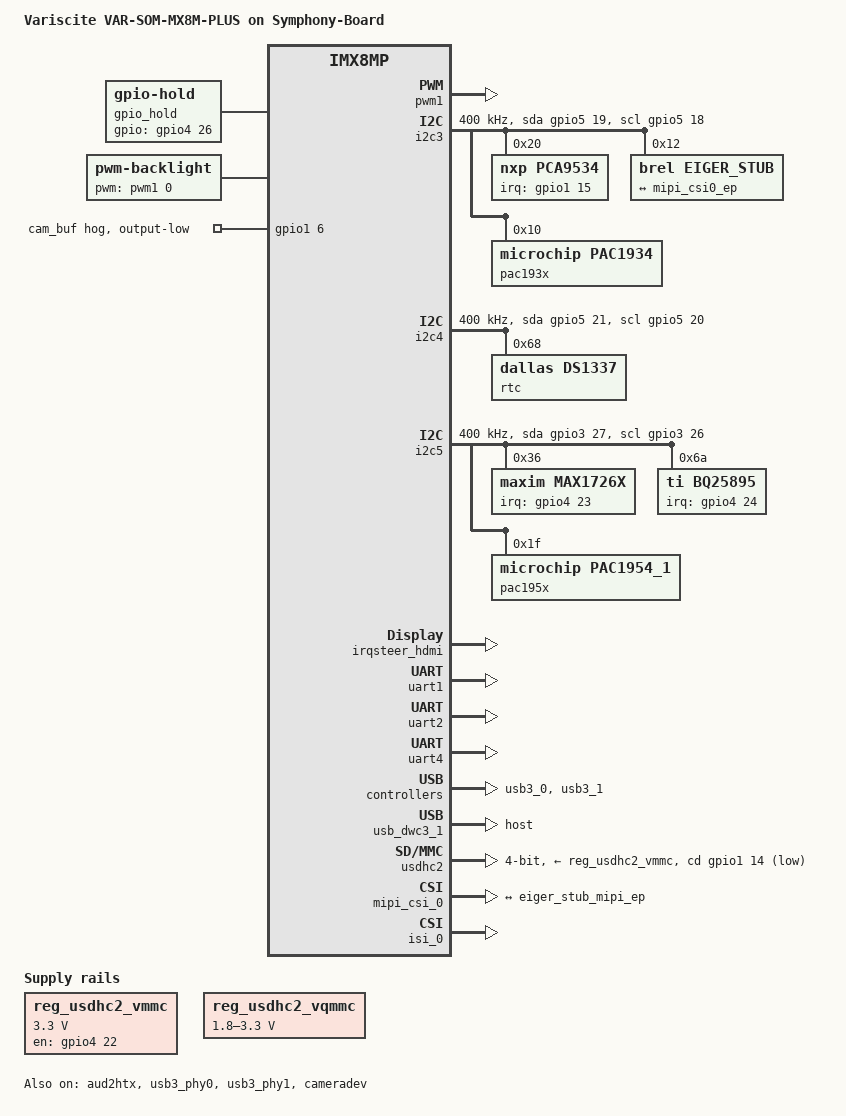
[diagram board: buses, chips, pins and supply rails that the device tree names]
// SPDX-License-Identifier: (GPL-2.0+ OR MIT)
/*
 * Copyright 2019 NXP
 * Copyright 2020-2021 Variscite Ltd.
 */

#include "imx8mp-var-som.dtsi"

/ {
	model = "Variscite VAR-SOM-MX8M-PLUS on Symphony-Board";

	chosen {
		stdout-path = &uart2;
	};

	reg_usdhc2_vmmc: regulator-usdhc2-vmmc {
		compatible = "regulator-fixed";
		regulator-name = "VSD_3V3";
		regulator-min-microvolt = <3300000>;
		regulator-max-microvolt = <3300000>;
		gpio = <&gpio4 22 GPIO_ACTIVE_HIGH>;
		enable-active-high;
		startup-delay-us = <100>;
		off-on-delay-us = <12000>;
	};

	reg_usdhc2_vqmmc: regulator-usdhc2-vqmmc {
		compatible = "regulator-gpio";
		regulator-name = "VSD_VSEL";
		regulator-min-microvolt = <1800000>;
		regulator-max-microvolt = <3300000>;
		gpio = <&gpio2 12 GPIO_ACTIVE_HIGH>;
		gpios-states = <1>;
		states = <3300000 0
			  1800000 1>;
	};

  gpio_hold: gpio-hold {
    compatible = "gpio-hold";
    pinctrl-names = "default";
    pinctrl-0 = <&pinctrl_hold>;
    gpio = <&gpio4 26 GPIO_ACTIVE_HIGH>;
    status = "okay";
  };

	backlight: backlight {
		compatible = "pwm-backlight";
		pwms = <&pwm1 0 1000000>;
		status = "okay";

		brightness-levels = < 0  1  2  3  4  5  6  7  8  9
				     10 11 12 13 14 15 16 17 18 19
				     20 21 22 23 24 25 26 27 28 29
				     30 31 32 33 34 35 36 37 38 39
				     40 41 42 43 44 45 46 47 48 49
				     50 51 52 53 54 55 56 57 58 59
				     60 61 62 63 64 65 66 67 68 69
				     70 71 72 73 74 75 76 77 78 79
				     80 81 82 83 84 85 86 87 88 89
				     90 91 92 93 94 95 96 97 98 99
				    100>;
		default-brightness-level = <80>;
	};
};

&snvs_rtc {
	status = "disabled";
};

&aud2htx {
	status = "okay";
};

&pwm1 {
	pinctrl-names = "default";
	pinctrl-0 = <&pinctrl_pwm1>;
	status = "okay";
};

&flexspi {
	pinctrl-names = "default";
	pinctrl-0 = <&pinctrl_flexspi0>;
	status = "disabled";
};

&i2c3 {
	clock-frequency = <400000>;
	pinctrl-names = "default", "gpio";
	pinctrl-0 = <&pinctrl_i2c3>;
	pinctrl-1 = <&pinctrl_i2c3_gpio>;
	scl-gpios = <&gpio5 18 GPIO_ACTIVE_HIGH>;
	sda-gpios = <&gpio5 19 GPIO_ACTIVE_HIGH>;
	status = "okay";

	pca9534: gpio@20 {
		compatible = "nxp,pca9534";
		reg = <0x20>;
		gpio-controller;
		pinctrl-names = "default";
		pinctrl-0 = <&pinctrl_pca9534>;
		interrupt-parent = <&gpio1>;
		interrupts = <15 IRQ_TYPE_EDGE_FALLING>;
		#gpio-cells = <2>;
		wakeup-source;
		status = "okay";
	};

  eiger_stub: eiger_stub@12 {
		compatible = "brel,eiger_stub";
		reg = <0x12>;
		clocks = <&clk IMX8MP_CLK_IPP_DO_CLKO2>;
		clock-names = "csi_mclk";
		csi_id = <0>;
		mclk = <24000000>;
		mclk_source = <0>;
		mipi_csi;
		status = "okay";

		port {
			eiger_stub_mipi_ep: endpoint {
				remote-endpoint = <&mipi_csi0_ep>;
				data-lanes = <1>;
				clock-lanes = <0>;

			};
		};
	};

	pac193x@10 {
		compatible = "microchip,pac1934";
		reg = <0x10>;
		microchip,samp-rate =<64>;
	        status = "okay";

		ch1: channel@0 {
		     microchip,uohms-shunt-res = <100000>;
		     microchip,rail-name = "CAM";
		     microchip,channel-enabled;
                     microchip,channel-index = <1>;
		};

		ch2: channel@1 {
		     microchip,uohms-shunt-res = <100000>;
		     microchip,rail-name = "3V3";
		     microchip,channel-enabled;
                     microchip,channel-index = <2>;
		};

		ch3: channel@2 {
		     microchip,uohms-shunt-res = <100000>;
		     microchip,rail-name = "1V8";
		     microchip,channel-enabled;
                     microchip,channel-index = <3>;
		};

		ch4: channel@3 {
		     microchip,uohms-shunt-res = <100000>;
		     microchip,rail-name = "5V";
		     microchip,channel-enabled;
                     microchip,channel-index = <4>;
		};
	};

};


&i2c4 {
	clock-frequency = <400000>;
	pinctrl-names = "default", "gpio";
	pinctrl-0 = <&pinctrl_i2c4>;
	pinctrl-1 = <&pinctrl_i2c4_gpio>;
	scl-gpios = <&gpio5 20 GPIO_ACTIVE_HIGH>;
	sda-gpios = <&gpio5 21 GPIO_ACTIVE_HIGH>;
	status = "okay";

	/* DS1337 RTC module */
	rtc@68 {
		compatible = "dallas,ds1337";
		reg = <0x68>;
		status = "okay";
	};
};

&i2c5 {
	clock-frequency = <400000>;
	pinctrl-names = "default", "gpio";
	pinctrl-0 = <&pinctrl_i2c5>;
	pinctrl-1 = <&pinctrl_i2c5_gpio>;
	scl-gpios = <&gpio3 26 GPIO_ACTIVE_HIGH>;
	sda-gpios = <&gpio3 27 GPIO_ACTIVE_HIGH>;
	status = "okay";


  max1726x: max1726x@36 {
		status              = "okay";
		reg                 = <0x36>; // MINIQUSB I2C ADDR=1, SIZE=0

		pinctrl-0 = <&pinctrl_fuel_gauge>;
		interrupt-parent    = <&gpio4>;
		interrupts 	    = <23 IRQ_TYPE_EDGE_FALLING>;
	};

	bq25895: charger@6a {
		compatible = "ti,bq25895";
		reg = <0x6a>;
		pinctrl-names = "default";
		pinctrl-0 = <&pinctrl_charger_in>;
		interrupt-parent = <&gpio4>;
		interrupts = <24 IRQ_TYPE_EDGE_FALLING>;
		/* phys = <&usb3_phy0>; */
    ti,battery-regulation-voltage = <4208000>;
		ti,charge-current = <3500000>;
		// 7.8Ah * 0.02C = 156mA -> 192 = 128 + 64
		// register allows only 64mA steps
		ti,termination-current = <128000>;
		ti,precharge-current = <128000>;
		ti,minimum-sys-voltage = <3600000>;
		ti,boost-voltage = <5510000>;
		ti,boost-max-current = <2400000>;
		// VREG_ACTUAL = VREG + min(ICHRG_ACTUAL x BATCOMP, VCLAMP)
		ti,ir-compensation-resistor = <60000>;// 60 mOhm
		ti,ir-compensation-voltage = <210000>;// 3.5A * 0.06ohm = 0.21

		ti,use-ilim-pin;
		ti,thermal-regulation-threshold = <120>;
	};

	pac195x@1f {
		compatible = "microchip,pac1954_1";
		reg = <0x1f>;

		#address-cells = <1>;
		#size-cells = <0>;

		microchip,samp-rate = "64";
		status = "okay";

		ch11: channel1@1 {
		    reg = <0x1>;
		    microchip,uohms-shunt-res = <100000>;
		    microchip,rail-name = "CAM";
		    microchip,vbus-mode = <0>;
		    microchip,vsense-mode = <0>;
		    microchip,accumulation-mode = <0>;
		};

		ch12: channel2@2 {
		    reg = <0x2>;
		    microchip,uohms-shunt-res = <100000>;
		    microchip,rail-name = "3V3";
		    microchip,vbus-mode = <0>;
		    microchip,vsense-mode = <0>;
		    microchip,accumulation-mode = <0>;
		};

		ch13: channel3@3 {
		    reg = <0x3>;
		    microchip,uohms-shunt-res = <100000>;
		    microchip,rail-name = "1V8";
		    microchip,vbus-mode = <0>;
		    microchip,vsense-mode = <0>;
		    microchip,accumulation-mode = <0>;
		};

		ch14: channel4@4 {
		    reg = <0x4>;
		    microchip,uohms-shunt-res = <100000>;
		    microchip,rail-name = "5V0";
		    microchip,vbus-mode = <0>;
		    microchip,vsense-mode = <0>;
		    microchip,accumulation-mode = <0>;
		};
	};
};

&max1726x {
    compatible  = "maxim,max1726x";

    rsense          = <10>;     /* miliOhm */
    model-option    = <1>;      /* 1: EZ Model, 2: Custom INI without model table
                                    3: Custom INI with custom model table */

    talrt-min   = <0>;          /* DegreeC */
    talrt-max   = <90>;         /* DegreeC */
    valrt-min   = <3000>;       /* mV */
    valrt-max   = <4500>;       /* mV */
    salrt-min   = <1>;          /* Percent */
    salrt-max   = <99>;         /* Percent */
    ialrt-min   = <(-5000)>;    /* mA */
    ialrt-max   = <5000>;       /* mA */


    /*** INI parameters ***/
    /* Option 1/2/3 */
    designcap   = /bits/ 16 <0x3CF0>; /* 7800 mAh * 0.5 */
    ichgterm    = /bits/ 16 <0x0334>;  /* 128 / 0.15625 = 820 = 0x334 */
    vempty      = /bits/ 16 <0xA061>; /* VE 3200 mV; VR 3880 mV*/
    vcharge     = <4200>; /* mV */

    /* Option 2/3 */
    learncfg    = /bits/ 16 <0xC482>;
    rcomp0      = /bits/ 16 <0x0578>; /* 1400 */
    tempco      = /bits/ 16 <0x223E>;
    qrtable00   = /bits/ 16 <0x1050>;
    qrtable10   = /bits/ 16 <0x2013>;
    qrtable20   = /bits/ 16 <0x0B04>;
    qrtable30   = /bits/ 16 <0x0885>;

    /* Option 2 */
    dpacc       = /bits/ 16 <0x0C80>;
    modelcfg    = /bits/ 16 <0x8000>;

    /* Option 3 */
    relaxcfg    = /bits/ 16 <0x2039>;
    config      = /bits/ 16 <0x2210>;
    config2     = /bits/ 16 <0x0658>;
    fullsocthr  = /bits/ 16 <0x5F05>;
    tgain       = /bits/ 16 <0xEE56>;
    toff        = /bits/ 16 <0x1DA4>;
    curve       = /bits/ 16 <0x0025>;
    model-data  = /bits/ 16 <
        /* OCV Table */
        0x9760 0xa510 0xb100 0xb600 0xb7a0 0xb900 0xba70 0xbc70
        0xbde0 0xbfc0 0xc250 0xc510 0xc990 0xcea0 0xd040 0xd750
        /* X Table */
        0x0060 0x0120 0x0240 0x0d80 0x08b0 0x0590 0x1200 0x3210
        0x0ee0 0x0a40 0x0950 0x08e0 0x0800 0x0780 0x06b0 0x06b0
        /* RCompSeg Table */
        0x0100 0x0100 0x0100 0x0100 0x0100 0x0100 0x0100 0x0100
        0x0100 0x0100 0x0100 0x0100 0x0100 0x0100 0x0100 0x0100
    >;
};

&irqsteer_hdmi {
	status = "okay";
};

&hdmi_blk_ctrl {
	status = "disabled";
};

&hdmi_pavi {
	status = "disabled";
};

&hdmi {
	status = "disabled";
};

&hdmiphy {
	status = "disabled";
};


/* HDMI */
&lcdif3 {
	status = "disabled";
	thres-low  = <1 2>;	/* (FIFO * 1 / 2) */
	thres-high = <3 4>;	/* (FIFO * 3 / 4) */
};

/* Header */
&uart1 {
	pinctrl-names = "default";
	pinctrl-0 = <&pinctrl_uart1>;
	status = "okay";
};

/* Console */
&uart2 {
	pinctrl-names = "default";
	pinctrl-0 = <&pinctrl_uart2>;
	status = "okay";
};

/* Header */
&uart4 {
	pinctrl-names = "default";
	pinctrl-0 = <&pinctrl_uart4>;
	status = "okay";
};

&usb3_phy0 {
	fsl,phy-tx-vref-tune = <0xe>;
	fsl,phy-tx-preemp-amp-tune = <3>;
	fsl,phy-tx-vboost-level = <5>;
	fsl,phy-comp-dis-tune = <7>;
	fsl,pcs-tx-deemph-3p5db = <0x21>;
	fsl,phy-pcs-tx-swing-full = <0x7f>;
	status = "okay";
};

&usb3_0 {
	status = "okay";
};


&usb3_phy1 {
	fsl,phy-tx-preemp-amp-tune = <3>;
	fsl,phy-tx-vref-tune = <0xb>;
	status = "okay";
};

&usb3_1 {
	status = "okay";
};

&usb_dwc3_1 {
	dr_mode = "host";
	status = "okay";
};

&usdhc2 {
	pinctrl-names = "default", "state_100mhz", "state_200mhz";
	pinctrl-0 = <&pinctrl_usdhc2>, <&pinctrl_usdhc2_gpio>;
	pinctrl-1 = <&pinctrl_usdhc2_100mhz>, <&pinctrl_usdhc2_gpio>;
	pinctrl-2 = <&pinctrl_usdhc2_200mhz>, <&pinctrl_usdhc2_gpio>;
	cd-gpios = <&gpio1 14 GPIO_ACTIVE_LOW>;
	vmmc-supply = <&reg_usdhc2_vmmc>;
	vqmmc-supply = <&reg_usdhc2_vqmmc>;
	bus-width = <4>;
	status = "okay";
};

&mipi_csi_0 {
	#address-cells = <1>;
	#size-cells = <0>;
	status = "okay";

	port@0 {
		reg = <0>;
		mipi_csi0_ep: endpoint {
			remote-endpoint = <&eiger_stub_mipi_ep>;
			data-lanes = <1>;
			csis-hs-settle = <6>;
			csis-clk-settle = <2>;
			csis-wclk;
		};
	};
};

&mipi_csi_1 {
	status = "disabled";
};

&cameradev {
	status = "okay";
};

&isi_0 {
	status = "okay";

	cap_device {
		status = "okay";
	};

	m2m_device {
		status = "disabled";
	};
};

&isp_0 {
	status = "disabled";
};

&isi_1 {
	status = "disabled";
};

&gpio1 {
	cam_buf_hog {
		gpio-hog;
		gpios = <6 0>;
		output-low;
		line-name = "cam_buf";
	};
};

&iomuxc {
	pinctrl-names = "default";
	pinctrl-0 = <&pinctrl_hog>;

	pinctrl_hog: hoggrp {
		fsl,pins = <
			MX8MP_IOMUXC_GPIO1_IO01__GPIO1_IO01		0x19 /* CAM_ON Dev-Kit */
			MX8MP_IOMUXC_GPIO1_IO13__GPIO1_IO13		0x19 /* CAM_ON 1350 */
			MX8MP_IOMUXC_GPIO1_IO11__GPIO1_IO11		0x19 /* LOOP_RUN */
			MX8MP_IOMUXC_GPIO1_IO05__GPIO1_IO05		0x19 /* FPD_PDB */
			MX8MP_IOMUXC_SAI2_RXFS__GPIO4_IO21		0x19 /* #SLEEP */
			MX8MP_IOMUXC_ECSPI2_SS0__GPIO5_IO13		0x19 /* #PB_KEY */
			MX8MP_IOMUXC_HDMI_HPD__HDMIMIX_HDMI_HPD				0x40000010
			MX8MP_IOMUXC_HDMI_CEC__HDMIMIX_HDMI_CEC				0x40000010
		>;
	};
  
	pinctrl_hold: holdgrp {
		fsl,pins = <
			MX8MP_IOMUXC_SAI2_TXD0__GPIO4_IO26				0x19
		>;
	};

	pinctrl_fuel_gauge: fuelgaugegrp {
		fsl,pins = <
			/* CHRG_INT */
			MX8MP_IOMUXC_SAI2_RXD0__GPIO4_IO23	0x80
		>;
	};

	pinctrl_charger_in: chargeringrp {
		fsl,pins = <
			/* CHRG_INT */
			MX8MP_IOMUXC_SAI2_TXFS__GPIO4_IO24	0x80
		>;
	};

	pinctrl_pwm1: pwm1grp {
		fsl,pins = <
			MX8MP_IOMUXC_SPDIF_EXT_CLK__PWM1_OUT				0x116
		>;
	};

	pinctrl_flexspi0: flexspi0grp {
		fsl,pins = <
			MX8MP_IOMUXC_NAND_ALE__FLEXSPI_A_SCLK				0x1c2
			MX8MP_IOMUXC_NAND_CE0_B__FLEXSPI_A_SS0_B			0x82
			MX8MP_IOMUXC_NAND_DATA00__FLEXSPI_A_DATA00			0x82
			MX8MP_IOMUXC_NAND_DATA01__FLEXSPI_A_DATA01			0x82
			MX8MP_IOMUXC_NAND_DATA02__FLEXSPI_A_DATA02			0x82
			MX8MP_IOMUXC_NAND_DATA03__FLEXSPI_A_DATA03			0x82
		>;
	};

	pinctrl_i2c3: i2c3grp {
		fsl,pins = <
			MX8MP_IOMUXC_I2C3_SCL__I2C3_SCL					0x400001c2
			MX8MP_IOMUXC_I2C3_SDA__I2C3_SDA					0x400001c2
		>;
	};

	pinctrl_i2c4: i2c4grp {
		fsl,pins = <
			MX8MP_IOMUXC_I2C4_SCL__I2C4_SCL					0x400001c2
			MX8MP_IOMUXC_I2C4_SDA__I2C4_SDA					0x400001c2
		>;
	};

	pinctrl_i2c5: i2c5grp {
		fsl,pins = <
			MX8MP_IOMUXC_HDMI_DDC_SCL__I2C5_SCL					0x400001c2
			MX8MP_IOMUXC_HDMI_DDC_SDA__I2C5_SDA					0x400001c2
		>;
	};

	pinctrl_i2c3_gpio: i2c3gpiogrp {
		fsl,pins = <
			MX8MP_IOMUXC_I2C3_SCL__GPIO5_IO18				0x1c2
			MX8MP_IOMUXC_I2C3_SDA__GPIO5_IO19				0x1c2
		>;
	};

	pinctrl_i2c4_gpio: i2c4gpiogrp {
		fsl,pins = <
			MX8MP_IOMUXC_I2C4_SCL__GPIO5_IO20				0x1c2
			MX8MP_IOMUXC_I2C4_SDA__GPIO5_IO21				0x1c2
		>;
	};

	pinctrl_i2c5_gpio: i2c5gpiogrp {
		fsl,pins = <
			MX8MP_IOMUXC_HDMI_DDC_SCL__GPIO3_IO26				0x1c2
			MX8MP_IOMUXC_HDMI_DDC_SDA__GPIO3_IO27				0x1c2
		>;
	};

	pinctrl_uart1: uart1grp {
		fsl,pins = <
			MX8MP_IOMUXC_UART1_RXD__UART1_DCE_RX				0x40
			MX8MP_IOMUXC_UART1_TXD__UART1_DCE_TX				0x40
		>;
	};

	pinctrl_uart2: uart2grp {
		fsl,pins = <
			MX8MP_IOMUXC_UART2_RXD__UART2_DCE_RX				0x40
			MX8MP_IOMUXC_UART2_TXD__UART2_DCE_TX				0x40
		>;
	};

	pinctrl_uart3: uart3grp {
		fsl,pins = <
			MX8MP_IOMUXC_ECSPI1_SCLK__UART3_DCE_RX				0x140
			MX8MP_IOMUXC_ECSPI1_MOSI__UART3_DCE_TX				0x140
			MX8MP_IOMUXC_ECSPI1_MISO__UART3_DCE_CTS				0x140
			MX8MP_IOMUXC_ECSPI1_SS0__UART3_DCE_RTS				0x140
		>;
	};

	pinctrl_uart4: uart4grp {
		fsl,pins = <
			MX8MP_IOMUXC_UART4_RXD__UART4_DCE_RX				0x40
			MX8MP_IOMUXC_UART4_TXD__UART4_DCE_TX				0x40
		>;
	};

	pinctrl_usdhc2_gpio: usdhc2grp-gpio {
		fsl,pins = <
			MX8MP_IOMUXC_GPIO1_IO14__GPIO1_IO14 				0x1c4
			MX8MP_IOMUXC_SAI2_RXC__GPIO4_IO22				0x10
			MX8MP_IOMUXC_SD2_CD_B__GPIO2_IO12				0xc0
		>;
	};

	pinctrl_usdhc2: usdhc2grp {
		fsl,pins = <
			MX8MP_IOMUXC_SD2_CLK__USDHC2_CLK				0x190
			MX8MP_IOMUXC_SD2_CMD__USDHC2_CMD				0x1d0
			MX8MP_IOMUXC_SD2_DATA0__USDHC2_DATA0				0x1d0
			MX8MP_IOMUXC_SD2_DATA1__USDHC2_DATA1				0x1d0
			MX8MP_IOMUXC_SD2_DATA2__USDHC2_DATA2				0x1d0
			MX8MP_IOMUXC_SD2_DATA3__USDHC2_DATA3				0x1d0
		>;
	};

	pinctrl_usdhc2_100mhz: usdhc2grp-100mhz {
		fsl,pins = <
			MX8MP_IOMUXC_SD2_CLK__USDHC2_CLK				0x194
			MX8MP_IOMUXC_SD2_CMD__USDHC2_CMD				0x1d4
			MX8MP_IOMUXC_SD2_DATA0__USDHC2_DATA0				0x1d4
			MX8MP_IOMUXC_SD2_DATA1__USDHC2_DATA1				0x1d4
			MX8MP_IOMUXC_SD2_DATA2__USDHC2_DATA2				0x1d4
			MX8MP_IOMUXC_SD2_DATA3__USDHC2_DATA3				0x1d4
		>;
	};

	pinctrl_usdhc2_200mhz: usdhc2grp-200mhz {
		fsl,pins = <
			MX8MP_IOMUXC_SD2_CLK__USDHC2_CLK				0x196
			MX8MP_IOMUXC_SD2_CMD__USDHC2_CMD				0x1d6
			MX8MP_IOMUXC_SD2_DATA0__USDHC2_DATA0				0x1d6
			MX8MP_IOMUXC_SD2_DATA1__USDHC2_DATA1				0x1d6
			MX8MP_IOMUXC_SD2_DATA2__USDHC2_DATA2				0x1d6
			MX8MP_IOMUXC_SD2_DATA3__USDHC2_DATA3				0x1d6
		>;
	};

	pinctrl_captouch: captouchgrp {
		fsl,pins = <
			MX8MP_IOMUXC_SPDIF_TX__GPIO5_IO03 				0x16
		>;
	};

	pinctrl_extcon: extcongrp {
		fsl,pins = <
			MX8MP_IOMUXC_GPIO1_IO05__GPIO1_IO05				0x10
		>;
	};

	pinctrl_csi0: csi0grp {
		fsl,pins = <
			MX8MP_IOMUXC_GPIO1_IO00__GPIO1_IO00				0x10
			>;
	};

	pinctrl_csi1: csi1grp {
		fsl,pins = <
			MX8MP_IOMUXC_SAI1_RXD7__GPIO4_IO09				0x10
			MX8MP_IOMUXC_SAI1_TXD0__GPIO4_IO12				0x10
			>;
	};

	pinctrl_pca9534: pca9534grp {
		fsl,pins = <
			MX8MP_IOMUXC_GPIO1_IO15__GPIO1_IO15				0xc0
		>;
	};
};
